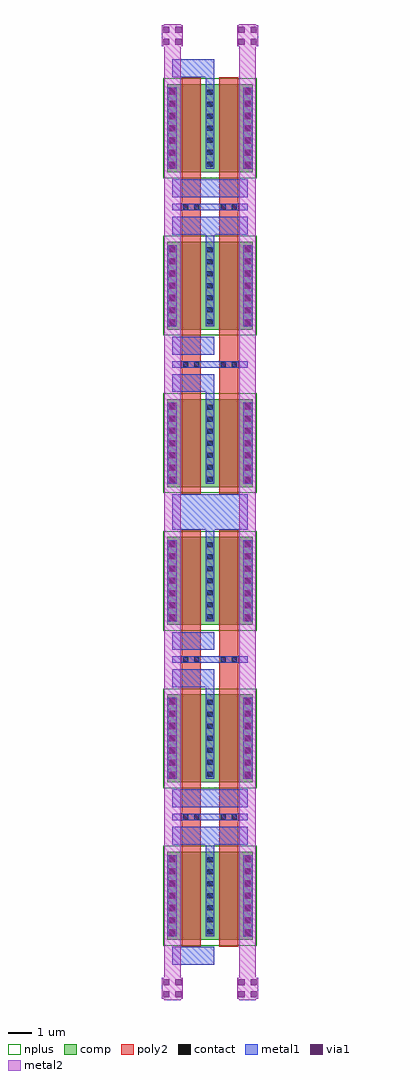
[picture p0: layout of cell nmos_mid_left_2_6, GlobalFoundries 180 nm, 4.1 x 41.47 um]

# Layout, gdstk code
import gdstk
lib = gdstk.Library(unit=1e-6, precision=5e-09)
def R(c, l, rs):  # rectangles x0, y0, x1, y1
    for r in rs: c.add(gdstk.rectangle(r[:2], r[2:], *l))
def A(c, l, x, y, w, h, nx, ny, dx, dy):  # array of equal rectangles
    R(c, l, [(x+i*dx, y+j*dy, x+i*dx+w, y+j*dy+h) for i in range(nx) for j in range(ny)])
comp = (22, 0)
poly2 = (30, 0)
nplus = (32, 0)
contact = (33, 0)
metal1 = (34, 0)
via1 = (35, 0)
metal2 = (36, 0)

nmos_mid_left_2_6 = lib.new_cell('nmos_mid_left_2_6')
R(nmos_mid_left_2_6, comp, [(-78.705,-19.075,-78.285,-15.325), (-78.705,-19.075,-78.285,-15.325), (-78.285,-19.075,-77.105,-15.325), (-78.285,-19.075,-77.105,-15.325), (-77.105,-19.075,-76.685,-15.325), (-77.105,-19.075,-76.685,-15.325), (-77.105,-19.075,-76.685,-15.325), (-77.105,-19.075,-76.685,-15.325), (-76.685,-19.075,-75.505,-15.325), (-76.685,-19.075,-75.505,-15.325), (-75.505,-19.075,-75.085,-15.325), (-75.505,-19.075,-75.085,-15.325), (-78.705,-12.385,-78.285,-8.635), (-78.705,-12.385,-78.285,-8.635), (-78.285,-12.385,-77.105,-8.635), (-78.285,-12.385,-77.105,-8.635), (-77.105,-12.385,-76.685,-8.635), (-77.105,-12.385,-76.685,-8.635), (-77.105,-12.385,-76.685,-8.635), (-77.105,-12.385,-76.685,-8.635), (-76.685,-12.385,-75.505,-8.635), (-76.685,-12.385,-75.505,-8.635), (-75.505,-12.385,-75.085,-8.635), (-75.505,-12.385,-75.085,-8.635), (-78.705,-5.695,-78.285,-1.945), (-78.705,-5.695,-78.285,-1.945), (-78.285,-5.695,-77.105,-1.945), (-78.285,-5.695,-77.105,-1.945), (-77.105,-5.695,-76.685,-1.945), (-77.105,-5.695,-76.685,-1.945), (-77.105,-5.695,-76.685,-1.945), (-77.105,-5.695,-76.685,-1.945), (-76.685,-5.695,-75.505,-1.945), (-76.685,-5.695,-75.505,-1.945), (-75.505,-5.695,-75.085,-1.945), (-75.505,-5.695,-75.085,-1.945), (-78.705,0.155,-78.285,3.905), (-78.705,0.155,-78.285,3.905), (-78.285,0.155,-77.105,3.905), (-78.285,0.155,-77.105,3.905), (-77.105,0.155,-76.685,3.905), (-77.105,0.155,-76.685,3.905), (-77.105,0.155,-76.685,3.905), (-77.105,0.155,-76.685,3.905), (-76.685,0.155,-75.505,3.905), (-76.685,0.155,-75.505,3.905), (-75.505,0.155,-75.085,3.905), (-75.505,0.155,-75.085,3.905), (-78.705,6.845,-78.285,10.595), (-78.705,6.845,-78.285,10.595), (-78.285,6.845,-77.105,10.595), (-78.285,6.845,-77.105,10.595), (-77.105,6.845,-76.685,10.595), (-77.105,6.845,-76.685,10.595), (-77.105,6.845,-76.685,10.595), (-77.105,6.845,-76.685,10.595), (-76.685,6.845,-75.505,10.595), (-76.685,6.845,-75.505,10.595), (-75.505,6.845,-75.085,10.595), (-75.505,6.845,-75.085,10.595), (-78.705,13.535,-78.285,17.285), (-78.705,13.535,-78.285,17.285), (-78.285,13.535,-77.105,17.285), (-78.285,13.535,-77.105,17.285), (-77.105,13.535,-76.685,17.285), (-77.105,13.535,-76.685,17.285), (-77.105,13.535,-76.685,17.285), (-77.105,13.535,-76.685,17.285), (-76.685,13.535,-75.505,17.285), (-76.685,13.535,-75.505,17.285), (-75.505,13.535,-75.085,17.285), (-75.505,13.535,-75.085,17.285)])
R(nmos_mid_left_2_6, poly2, [(-78.095,-19.375,-77.295,-15.025), (-78.095,-19.375,-77.295,-15.025), (-76.495,-19.375,-75.695,-15.025), (-76.495,-19.375,-75.695,-15.025), (-78.095,-15.025,-77.295,-12.685), (-76.495,-15.025,-75.695,-12.685), (-78.11,-14.01,-77.28,-13.7), (-76.51,-14.01,-75.68,-13.7), (-78.095,-12.685,-77.295,-8.335), (-78.095,-12.685,-77.295,-8.335), (-76.495,-12.685,-75.695,-8.335), (-76.495,-12.685,-75.695,-8.335), (-78.095,-8.335,-77.295,-5.995), (-76.495,-8.335,-75.695,-5.995), (-78.11,-7.32,-77.28,-7.01), (-76.51,-7.32,-75.68,-7.01), (-78.095,-5.995,-77.295,-1.645), (-78.095,-5.995,-77.295,-1.645), (-76.495,-5.995,-75.695,-1.645), (-76.495,-5.995,-75.695,-1.645), (-78.095,-0.145,-77.295,4.205), (-78.095,-0.145,-77.295,4.205), (-76.495,-0.145,-75.695,4.205), (-76.495,-0.145,-75.695,4.205), (-78.095,4.205,-77.295,6.545), (-76.495,4.205,-75.695,6.545), (-78.11,5.22,-77.28,5.53), (-76.51,5.22,-75.68,5.53), (-78.095,6.545,-77.295,10.895), (-78.095,6.545,-77.295,10.895), (-76.495,6.545,-75.695,10.895), (-76.495,6.545,-75.695,10.895), (-78.095,10.895,-77.295,13.235), (-76.495,10.895,-75.695,13.235), (-78.11,11.91,-77.28,12.22), (-76.51,11.91,-75.68,12.22), (-78.095,13.235,-77.295,17.585), (-78.095,13.235,-77.295,17.585), (-76.495,13.235,-75.695,17.585), (-76.495,13.235,-75.695,17.585)])
R(nmos_mid_left_2_6, nplus, [(-78.875,-19.315,-76.515,-15.085), (-78.875,-19.315,-76.515,-15.085), (-77.275,-19.315,-74.915,-15.085), (-77.275,-19.315,-74.915,-15.085), (-78.875,-12.625,-76.515,-8.395), (-78.875,-12.625,-76.515,-8.395), (-77.275,-12.625,-74.915,-8.395), (-77.275,-12.625,-74.915,-8.395), (-78.875,-5.935,-76.515,-1.705), (-78.875,-5.935,-76.515,-1.705), (-77.275,-5.935,-74.915,-1.705), (-77.275,-5.935,-74.915,-1.705), (-78.875,-0.085,-76.515,4.145), (-78.875,-0.085,-76.515,4.145), (-77.275,-0.085,-74.915,4.145), (-77.275,-0.085,-74.915,4.145), (-78.875,6.605,-76.515,10.835), (-78.875,6.605,-76.515,10.835), (-77.275,6.605,-74.915,10.835), (-77.275,6.605,-74.915,10.835), (-78.875,13.295,-76.515,17.525), (-78.875,13.295,-76.515,17.525), (-77.275,13.295,-74.915,17.525), (-77.275,13.295,-74.915,17.525)])
R(nmos_mid_left_2_6, contact, [(-78.605,-18.84,-78.385,-18.62), (-78.605,-18.84,-78.385,-18.62), (-77.005,-18.84,-76.785,-18.62), (-77.005,-18.84,-76.785,-18.62), (-77.005,-18.84,-76.785,-18.62), (-77.005,-18.84,-76.785,-18.62), (-75.405,-18.84,-75.185,-18.62), (-75.405,-18.84,-75.185,-18.62), (-78.605,-18.33,-78.385,-18.11), (-78.605,-18.33,-78.385,-18.11), (-77.005,-18.33,-76.785,-18.11), (-77.005,-18.33,-76.785,-18.11), (-77.005,-18.33,-76.785,-18.11), (-77.005,-18.33,-76.785,-18.11), (-75.405,-18.33,-75.185,-18.11), (-75.405,-18.33,-75.185,-18.11), (-78.605,-17.82,-78.385,-17.6), (-78.605,-17.82,-78.385,-17.6), (-77.005,-17.82,-76.785,-17.6), (-77.005,-17.82,-76.785,-17.6), (-77.005,-17.82,-76.785,-17.6), (-77.005,-17.82,-76.785,-17.6), (-75.405,-17.82,-75.185,-17.6), (-75.405,-17.82,-75.185,-17.6), (-78.605,-17.31,-78.385,-17.09), (-78.605,-17.31,-78.385,-17.09), (-77.005,-17.31,-76.785,-17.09), (-77.005,-17.31,-76.785,-17.09), (-77.005,-17.31,-76.785,-17.09), (-77.005,-17.31,-76.785,-17.09), (-75.405,-17.31,-75.185,-17.09), (-75.405,-17.31,-75.185,-17.09), (-78.605,-16.8,-78.385,-16.58), (-78.605,-16.8,-78.385,-16.58), (-77.005,-16.8,-76.785,-16.58), (-77.005,-16.8,-76.785,-16.58), (-77.005,-16.8,-76.785,-16.58), (-77.005,-16.8,-76.785,-16.58), (-75.405,-16.8,-75.185,-16.58), (-75.405,-16.8,-75.185,-16.58), (-78.605,-16.29,-78.385,-16.07), (-78.605,-16.29,-78.385,-16.07), (-77.005,-16.29,-76.785,-16.07), (-77.005,-16.29,-76.785,-16.07), (-77.005,-16.29,-76.785,-16.07), (-77.005,-16.29,-76.785,-16.07), (-75.405,-16.29,-75.185,-16.07), (-75.405,-16.29,-75.185,-16.07), (-78.605,-15.78,-78.385,-15.56), (-78.605,-15.78,-78.385,-15.56), (-77.005,-15.78,-76.785,-15.56), (-77.005,-15.78,-76.785,-15.56), (-77.005,-15.78,-76.785,-15.56), (-77.005,-15.78,-76.785,-15.56), (-75.405,-15.78,-75.185,-15.56), (-75.405,-15.78,-75.185,-15.56), (-78.04,-13.965,-77.82,-13.745), (-77.57,-13.965,-77.35,-13.745), (-76.44,-13.965,-76.22,-13.745), (-75.97,-13.965,-75.75,-13.745), (-78.605,-12.15,-78.385,-11.93), (-78.605,-12.15,-78.385,-11.93), (-77.005,-12.15,-76.785,-11.93), (-77.005,-12.15,-76.785,-11.93), (-77.005,-12.15,-76.785,-11.93), (-77.005,-12.15,-76.785,-11.93), (-75.405,-12.15,-75.185,-11.93), (-75.405,-12.15,-75.185,-11.93), (-78.605,-11.64,-78.385,-11.42), (-78.605,-11.64,-78.385,-11.42), (-77.005,-11.64,-76.785,-11.42), (-77.005,-11.64,-76.785,-11.42), (-77.005,-11.64,-76.785,-11.42), (-77.005,-11.64,-76.785,-11.42), (-75.405,-11.64,-75.185,-11.42), (-75.405,-11.64,-75.185,-11.42), (-78.605,-11.13,-78.385,-10.91), (-78.605,-11.13,-78.385,-10.91), (-77.005,-11.13,-76.785,-10.91), (-77.005,-11.13,-76.785,-10.91), (-77.005,-11.13,-76.785,-10.91), (-77.005,-11.13,-76.785,-10.91), (-75.405,-11.13,-75.185,-10.91), (-75.405,-11.13,-75.185,-10.91), (-78.605,-10.62,-78.385,-10.4), (-78.605,-10.62,-78.385,-10.4), (-77.005,-10.62,-76.785,-10.4), (-77.005,-10.62,-76.785,-10.4), (-77.005,-10.62,-76.785,-10.4), (-77.005,-10.62,-76.785,-10.4), (-75.405,-10.62,-75.185,-10.4), (-75.405,-10.62,-75.185,-10.4), (-78.605,-10.11,-78.385,-9.89), (-78.605,-10.11,-78.385,-9.89), (-77.005,-10.11,-76.785,-9.89), (-77.005,-10.11,-76.785,-9.89), (-77.005,-10.11,-76.785,-9.89), (-77.005,-10.11,-76.785,-9.89), (-75.405,-10.11,-75.185,-9.89), (-75.405,-10.11,-75.185,-9.89), (-78.605,-9.6,-78.385,-9.38), (-78.605,-9.6,-78.385,-9.38), (-77.005,-9.6,-76.785,-9.38), (-77.005,-9.6,-76.785,-9.38), (-77.005,-9.6,-76.785,-9.38), (-77.005,-9.6,-76.785,-9.38), (-75.405,-9.6,-75.185,-9.38), (-75.405,-9.6,-75.185,-9.38), (-78.605,-9.09,-78.385,-8.87), (-78.605,-9.09,-78.385,-8.87), (-77.005,-9.09,-76.785,-8.87), (-77.005,-9.09,-76.785,-8.87), (-77.005,-9.09,-76.785,-8.87), (-77.005,-9.09,-76.785,-8.87), (-75.405,-9.09,-75.185,-8.87), (-75.405,-9.09,-75.185,-8.87), (-78.04,-7.275,-77.82,-7.055), (-77.57,-7.275,-77.35,-7.055), (-76.44,-7.275,-76.22,-7.055), (-75.97,-7.275,-75.75,-7.055), (-78.605,-5.46,-78.385,-5.24), (-78.605,-5.46,-78.385,-5.24), (-77.005,-5.46,-76.785,-5.24), (-77.005,-5.46,-76.785,-5.24), (-77.005,-5.46,-76.785,-5.24), (-77.005,-5.46,-76.785,-5.24), (-75.405,-5.46,-75.185,-5.24), (-75.405,-5.46,-75.185,-5.24), (-78.605,-4.95,-78.385,-4.73), (-78.605,-4.95,-78.385,-4.73), (-77.005,-4.95,-76.785,-4.73), (-77.005,-4.95,-76.785,-4.73), (-77.005,-4.95,-76.785,-4.73), (-77.005,-4.95,-76.785,-4.73), (-75.405,-4.95,-75.185,-4.73), (-75.405,-4.95,-75.185,-4.73), (-78.605,-4.44,-78.385,-4.22), (-78.605,-4.44,-78.385,-4.22), (-77.005,-4.44,-76.785,-4.22), (-77.005,-4.44,-76.785,-4.22), (-77.005,-4.44,-76.785,-4.22), (-77.005,-4.44,-76.785,-4.22), (-75.405,-4.44,-75.185,-4.22), (-75.405,-4.44,-75.185,-4.22), (-78.605,-3.93,-78.385,-3.71), (-78.605,-3.93,-78.385,-3.71), (-77.005,-3.93,-76.785,-3.71), (-77.005,-3.93,-76.785,-3.71), (-77.005,-3.93,-76.785,-3.71), (-77.005,-3.93,-76.785,-3.71), (-75.405,-3.93,-75.185,-3.71), (-75.405,-3.93,-75.185,-3.71), (-78.605,-3.42,-78.385,-3.2), (-78.605,-3.42,-78.385,-3.2), (-77.005,-3.42,-76.785,-3.2), (-77.005,-3.42,-76.785,-3.2), (-77.005,-3.42,-76.785,-3.2), (-77.005,-3.42,-76.785,-3.2), (-75.405,-3.42,-75.185,-3.2), (-75.405,-3.42,-75.185,-3.2), (-78.605,-2.91,-78.385,-2.69), (-78.605,-2.91,-78.385,-2.69), (-77.005,-2.91,-76.785,-2.69), (-77.005,-2.91,-76.785,-2.69), (-77.005,-2.91,-76.785,-2.69), (-77.005,-2.91,-76.785,-2.69), (-75.405,-2.91,-75.185,-2.69), (-75.405,-2.91,-75.185,-2.69), (-78.605,-2.4,-78.385,-2.18), (-78.605,-2.4,-78.385,-2.18), (-77.005,-2.4,-76.785,-2.18), (-77.005,-2.4,-76.785,-2.18), (-77.005,-2.4,-76.785,-2.18), (-77.005,-2.4,-76.785,-2.18), (-75.405,-2.4,-75.185,-2.18), (-75.405,-2.4,-75.185,-2.18), (-78.605,0.39,-78.385,0.61), (-78.605,0.39,-78.385,0.61), (-77.005,0.39,-76.785,0.61), (-77.005,0.39,-76.785,0.61), (-77.005,0.39,-76.785,0.61), (-77.005,0.39,-76.785,0.61), (-75.405,0.39,-75.185,0.61), (-75.405,0.39,-75.185,0.61), (-78.605,0.9,-78.385,1.12), (-78.605,0.9,-78.385,1.12), (-77.005,0.9,-76.785,1.12), (-77.005,0.9,-76.785,1.12), (-77.005,0.9,-76.785,1.12), (-77.005,0.9,-76.785,1.12), (-75.405,0.9,-75.185,1.12), (-75.405,0.9,-75.185,1.12), (-78.605,1.41,-78.385,1.63), (-78.605,1.41,-78.385,1.63), (-77.005,1.41,-76.785,1.63), (-77.005,1.41,-76.785,1.63), (-77.005,1.41,-76.785,1.63), (-77.005,1.41,-76.785,1.63), (-75.405,1.41,-75.185,1.63), (-75.405,1.41,-75.185,1.63), (-78.605,1.92,-78.385,2.14), (-78.605,1.92,-78.385,2.14), (-77.005,1.92,-76.785,2.14), (-77.005,1.92,-76.785,2.14), (-77.005,1.92,-76.785,2.14), (-77.005,1.92,-76.785,2.14), (-75.405,1.92,-75.185,2.14), (-75.405,1.92,-75.185,2.14), (-78.605,2.43,-78.385,2.65), (-78.605,2.43,-78.385,2.65), (-77.005,2.43,-76.785,2.65), (-77.005,2.43,-76.785,2.65), (-77.005,2.43,-76.785,2.65), (-77.005,2.43,-76.785,2.65), (-75.405,2.43,-75.185,2.65), (-75.405,2.43,-75.185,2.65), (-78.605,2.94,-78.385,3.16), (-78.605,2.94,-78.385,3.16), (-77.005,2.94,-76.785,3.16), (-77.005,2.94,-76.785,3.16), (-77.005,2.94,-76.785,3.16), (-77.005,2.94,-76.785,3.16), (-75.405,2.94,-75.185,3.16), (-75.405,2.94,-75.185,3.16), (-78.605,3.45,-78.385,3.67), (-78.605,3.45,-78.385,3.67), (-77.005,3.45,-76.785,3.67), (-77.005,3.45,-76.785,3.67), (-77.005,3.45,-76.785,3.67), (-77.005,3.45,-76.785,3.67), (-75.405,3.45,-75.185,3.67), (-75.405,3.45,-75.185,3.67), (-78.04,5.265,-77.82,5.485), (-77.57,5.265,-77.35,5.485), (-76.44,5.265,-76.22,5.485), (-75.97,5.265,-75.75,5.485), (-78.605,7.08,-78.385,7.3), (-78.605,7.08,-78.385,7.3), (-77.005,7.08,-76.785,7.3), (-77.005,7.08,-76.785,7.3), (-77.005,7.08,-76.785,7.3), (-77.005,7.08,-76.785,7.3), (-75.405,7.08,-75.185,7.3), (-75.405,7.08,-75.185,7.3), (-78.605,7.59,-78.385,7.81), (-78.605,7.59,-78.385,7.81), (-77.005,7.59,-76.785,7.81), (-77.005,7.59,-76.785,7.81), (-77.005,7.59,-76.785,7.81), (-77.005,7.59,-76.785,7.81), (-75.405,7.59,-75.185,7.81), (-75.405,7.59,-75.185,7.81), (-78.605,8.1,-78.385,8.32), (-78.605,8.1,-78.385,8.32), (-77.005,8.1,-76.785,8.32), (-77.005,8.1,-76.785,8.32), (-77.005,8.1,-76.785,8.32), (-77.005,8.1,-76.785,8.32), (-75.405,8.1,-75.185,8.32), (-75.405,8.1,-75.185,8.32), (-78.605,8.61,-78.385,8.83), (-78.605,8.61,-78.385,8.83), (-77.005,8.61,-76.785,8.83), (-77.005,8.61,-76.785,8.83), (-77.005,8.61,-76.785,8.83), (-77.005,8.61,-76.785,8.83), (-75.405,8.61,-75.185,8.83), (-75.405,8.61,-75.185,8.83), (-78.605,9.12,-78.385,9.34), (-78.605,9.12,-78.385,9.34), (-77.005,9.12,-76.785,9.34), (-77.005,9.12,-76.785,9.34), (-77.005,9.12,-76.785,9.34), (-77.005,9.12,-76.785,9.34), (-75.405,9.12,-75.185,9.34), (-75.405,9.12,-75.185,9.34), (-78.605,9.63,-78.385,9.85), (-78.605,9.63,-78.385,9.85), (-77.005,9.63,-76.785,9.85), (-77.005,9.63,-76.785,9.85), (-77.005,9.63,-76.785,9.85), (-77.005,9.63,-76.785,9.85), (-75.405,9.63,-75.185,9.85), (-75.405,9.63,-75.185,9.85), (-78.605,10.14,-78.385,10.36), (-78.605,10.14,-78.385,10.36), (-77.005,10.14,-76.785,10.36), (-77.005,10.14,-76.785,10.36), (-77.005,10.14,-76.785,10.36), (-77.005,10.14,-76.785,10.36), (-75.405,10.14,-75.185,10.36), (-75.405,10.14,-75.185,10.36), (-78.04,11.955,-77.82,12.175), (-77.57,11.955,-77.35,12.175), (-76.44,11.955,-76.22,12.175), (-75.97,11.955,-75.75,12.175), (-78.605,13.77,-78.385,13.99), (-78.605,13.77,-78.385,13.99), (-77.005,13.77,-76.785,13.99), (-77.005,13.77,-76.785,13.99), (-77.005,13.77,-76.785,13.99), (-77.005,13.77,-76.785,13.99), (-75.405,13.77,-75.185,13.99), (-75.405,13.77,-75.185,13.99), (-78.605,14.28,-78.385,14.5), (-78.605,14.28,-78.385,14.5), (-77.005,14.28,-76.785,14.5), (-77.005,14.28,-76.785,14.5), (-77.005,14.28,-76.785,14.5), (-77.005,14.28,-76.785,14.5), (-75.405,14.28,-75.185,14.5), (-75.405,14.28,-75.185,14.5), (-78.605,14.79,-78.385,15.01), (-78.605,14.79,-78.385,15.01), (-77.005,14.79,-76.785,15.01), (-77.005,14.79,-76.785,15.01), (-77.005,14.79,-76.785,15.01), (-77.005,14.79,-76.785,15.01), (-75.405,14.79,-75.185,15.01), (-75.405,14.79,-75.185,15.01), (-78.605,15.3,-78.385,15.52), (-78.605,15.3,-78.385,15.52), (-77.005,15.3,-76.785,15.52), (-77.005,15.3,-76.785,15.52), (-77.005,15.3,-76.785,15.52), (-77.005,15.3,-76.785,15.52), (-75.405,15.3,-75.185,15.52), (-75.405,15.3,-75.185,15.52), (-78.605,15.81,-78.385,16.03), (-78.605,15.81,-78.385,16.03), (-77.005,15.81,-76.785,16.03), (-77.005,15.81,-76.785,16.03), (-77.005,15.81,-76.785,16.03), (-77.005,15.81,-76.785,16.03), (-75.405,15.81,-75.185,16.03), (-75.405,15.81,-75.185,16.03), (-78.605,16.32,-78.385,16.54), (-78.605,16.32,-78.385,16.54), (-77.005,16.32,-76.785,16.54), (-77.005,16.32,-76.785,16.54), (-77.005,16.32,-76.785,16.54), (-77.005,16.32,-76.785,16.54), (-75.405,16.32,-75.185,16.54), (-75.405,16.32,-75.185,16.54), (-78.605,16.83,-78.385,17.05), (-78.605,16.83,-78.385,17.05), (-77.005,16.83,-76.785,17.05), (-77.005,16.83,-76.785,17.05), (-77.005,16.83,-76.785,17.05), (-77.005,16.83,-76.785,17.05), (-75.405,16.83,-75.185,17.05), (-75.405,16.83,-75.185,17.05)])
R(nmos_mid_left_2_6, metal1, [(-78.685,-18.92,-78.305,-15.48), (-78.685,-18.92,-78.305,-15.48), (-77.085,-18.92,-76.705,-15.48), (-77.085,-18.92,-76.705,-15.48), (-77.085,-18.92,-76.705,-15.48), (-77.085,-18.92,-76.705,-15.48), (-75.485,-18.92,-75.105,-15.48), (-75.485,-18.92,-75.105,-15.48), (-78.685,-12.23,-78.305,-8.79), (-78.685,-12.23,-78.305,-8.79), (-77.085,-12.23,-76.705,-8.79), (-77.085,-12.23,-76.705,-8.79), (-77.085,-12.23,-76.705,-8.79), (-77.085,-12.23,-76.705,-8.79), (-75.485,-12.23,-75.105,-8.79), (-75.485,-12.23,-75.105,-8.79), (-78.685,-5.54,-78.305,-2.1), (-78.685,-5.54,-78.305,-2.1), (-77.085,-5.54,-76.705,-2.1), (-77.085,-5.54,-76.705,-2.1), (-77.085,-5.54,-76.705,-2.1), (-77.085,-5.54,-76.705,-2.1), (-75.485,-5.54,-75.105,-2.1), (-75.485,-5.54,-75.105,-2.1), (-78.685,0.31,-78.305,3.75), (-78.685,0.31,-78.305,3.75), (-77.085,0.31,-76.705,3.75), (-77.085,0.31,-76.705,3.75), (-77.085,0.31,-76.705,3.75), (-77.085,0.31,-76.705,3.75), (-75.485,0.31,-75.105,3.75), (-75.485,0.31,-75.105,3.75), (-78.685,7,-78.305,10.44), (-78.685,7,-78.305,10.44), (-77.085,7,-76.705,10.44), (-77.085,7,-76.705,10.44), (-77.085,7,-76.705,10.44), (-77.085,7,-76.705,10.44), (-75.485,7,-75.105,10.44), (-75.485,7,-75.105,10.44), (-78.685,13.69,-78.305,17.13), (-78.685,13.69,-78.305,17.13), (-77.085,13.69,-76.705,17.13), (-77.085,13.69,-76.705,17.13), (-77.085,13.69,-76.705,17.13), (-77.085,13.69,-76.705,17.13), (-75.485,13.69,-75.105,17.13), (-75.485,13.69,-75.105,17.13)])
A(nmos_mid_left_2_6, via1, -78.625, -18.89, 0.26, 0.26, 1, 7, 0, 0.52)
A(nmos_mid_left_2_6, via1, -75.425, -18.89, 0.26, 0.26, 1, 7, 0, 0.52)
A(nmos_mid_left_2_6, via1, -78.625, -12.2, 0.26, 0.26, 1, 7, 0, 0.52)
A(nmos_mid_left_2_6, via1, -75.425, -12.2, 0.26, 0.26, 1, 7, 0, 0.52)
A(nmos_mid_left_2_6, via1, -78.625, -5.51, 0.26, 0.26, 1, 7, 0, 0.52)
A(nmos_mid_left_2_6, via1, -75.425, -5.51, 0.26, 0.26, 1, 7, 0, 0.52)
A(nmos_mid_left_2_6, via1, -78.625, 0.34, 0.26, 0.26, 1, 7, 0, 0.52)
A(nmos_mid_left_2_6, via1, -75.425, 0.34, 0.26, 0.26, 1, 7, 0, 0.52)
A(nmos_mid_left_2_6, via1, -78.625, 7.03, 0.26, 0.26, 1, 7, 0, 0.52)
A(nmos_mid_left_2_6, via1, -75.425, 7.03, 0.26, 0.26, 1, 7, 0, 0.52)
A(nmos_mid_left_2_6, via1, -78.625, 13.72, 0.26, 0.26, 1, 7, 0, 0.52)
A(nmos_mid_left_2_6, via1, -75.425, 13.72, 0.26, 0.26, 1, 7, 0, 0.52)
R(nmos_mid_left_2_6, via1, [(-78.885,-21.52,-78.625,-21.26), (-78.365,-21.52,-78.105,-21.26), (-75.685,-21.52,-75.425,-21.26), (-75.165,-21.52,-74.905,-21.26), (-78.885,-21,-78.625,-20.74), (-78.365,-21,-78.105,-20.74), (-75.685,-21,-75.425,-20.74), (-75.165,-21,-74.905,-20.74), (-78.885,18.95,-78.625,19.21), (-78.365,18.95,-78.105,19.21), (-75.685,18.95,-75.425,19.21), (-75.165,18.95,-74.905,19.21), (-78.885,19.47,-78.625,19.73), (-78.365,19.47,-78.105,19.73), (-75.685,19.47,-75.425,19.73), (-75.165,19.47,-74.905,19.73)])
R(nmos_mid_left_2_6, metal2, [(-78.945,-21.58,-78.045,-20.68), (-75.745,-21.58,-74.845,-20.68), (-78.945,18.89,-78.045,19.79), (-75.745,18.89,-74.845,19.79)])
nmos_mid_left_2_6.add(gdstk.FlexPath([(-78.495,-7.96),(-76.705,-7.96)], 0.75, ends="flush", simple_path=True, layer=34, datatype=0))  # metal1
nmos_mid_left_2_6.add(gdstk.FlexPath([(-78.495,-6.37),(-76.705,-6.37)], 0.75, ends="flush", simple_path=True, layer=34, datatype=0))  # metal1
nmos_mid_left_2_6.add(gdstk.FlexPath([(-78.495,4.58),(-76.705,4.58)], 0.75, ends="flush", simple_path=True, layer=34, datatype=0))  # metal1
nmos_mid_left_2_6.add(gdstk.FlexPath([(-78.495,6.17),(-76.705,6.17)], 0.75, ends="flush", simple_path=True, layer=34, datatype=0))  # metal1
nmos_mid_left_2_6.add(gdstk.FlexPath([(-78.495,17.96),(-76.705,17.96)], 0.75, ends="flush", simple_path=True, layer=34, datatype=0))  # metal1
nmos_mid_left_2_6.add(gdstk.FlexPath([(-78.495,-19.75),(-76.705,-19.75)], 0.75, ends="flush", simple_path=True, layer=34, datatype=0))  # metal1
nmos_mid_left_2_6.add(gdstk.FlexPath([(-76.895,-15.48),(-76.895,-15.025)], 0.38, ends="flush", simple_path=True, layer=34, datatype=0))  # metal1
nmos_mid_left_2_6.add(gdstk.FlexPath([(-78.495,-13.855),(-75.295,-13.855)], 0.28, ends="flush", simple_path=True, layer=34, datatype=0))  # metal1
nmos_mid_left_2_6.add(gdstk.FlexPath([(-78.495,-13.06),(-75.295,-13.06)], 0.75, ends="flush", simple_path=True, layer=34, datatype=0))  # metal1
nmos_mid_left_2_6.add(gdstk.FlexPath([(-78.495,12.86),(-75.295,12.86)], 0.75, ends="flush", simple_path=True, layer=34, datatype=0))  # metal1
nmos_mid_left_2_6.add(gdstk.FlexPath([(-78.495,12.065),(-75.295,12.065)], 0.28, ends="flush", simple_path=True, layer=34, datatype=0))  # metal1
nmos_mid_left_2_6.add(gdstk.FlexPath([(-78.495,11.27),(-75.295,11.27)], 0.75, ends="flush", simple_path=True, layer=34, datatype=0))  # metal1
nmos_mid_left_2_6.add(gdstk.FlexPath([(-76.895,10.44),(-76.895,10.895)], 0.38, ends="flush", simple_path=True, layer=34, datatype=0))  # metal1
nmos_mid_left_2_6.add(gdstk.FlexPath([(-76.895,17.13),(-76.895,17.585)], 0.38, ends="flush", simple_path=True, layer=34, datatype=0))  # metal1
nmos_mid_left_2_6.add(gdstk.FlexPath([(-76.895,-1.645),(-76.895,-2.1)], 0.38, ends="flush", simple_path=True, layer=34, datatype=0))  # metal1
nmos_mid_left_2_6.add(gdstk.FlexPath([(-76.895,-8.79),(-76.895,-8.335)], 0.38, ends="flush", simple_path=True, layer=34, datatype=0))  # metal1
nmos_mid_left_2_6.add(gdstk.FlexPath([(-78.495,-7.165),(-75.295,-7.165)], 0.28, ends="flush", simple_path=True, layer=34, datatype=0))  # metal1
nmos_mid_left_2_6.add(gdstk.FlexPath([(-76.895,3.75),(-76.895,4.205)], 0.38, ends="flush", simple_path=True, layer=34, datatype=0))  # metal1
nmos_mid_left_2_6.add(gdstk.FlexPath([(-78.495,5.375),(-75.295,5.375)], 0.28, ends="flush", simple_path=True, layer=34, datatype=0))  # metal1
nmos_mid_left_2_6.add(gdstk.FlexPath([(-78.495,-0.895),(-75.295,-0.895)], 1.5, ends="flush", simple_path=True, layer=34, datatype=0))  # metal1
nmos_mid_left_2_6.add(gdstk.FlexPath([(-78.495,-14.65),(-75.295,-14.65)], 0.75, ends="flush", simple_path=True, layer=34, datatype=0))  # metal1
nmos_mid_left_2_6.add(gdstk.FlexPath([(-78.495,-21.63),(-78.495,19.84)], 0.7, ends="flush", simple_path=True, layer=36, datatype=0))  # metal2
nmos_mid_left_2_6.add(gdstk.FlexPath([(-75.295,-21.63),(-75.295,19.84)], 0.7, ends="flush", simple_path=True, layer=36, datatype=0))  # metal2

lib.write_gds('nmos_mid_left_2_6.gds')
